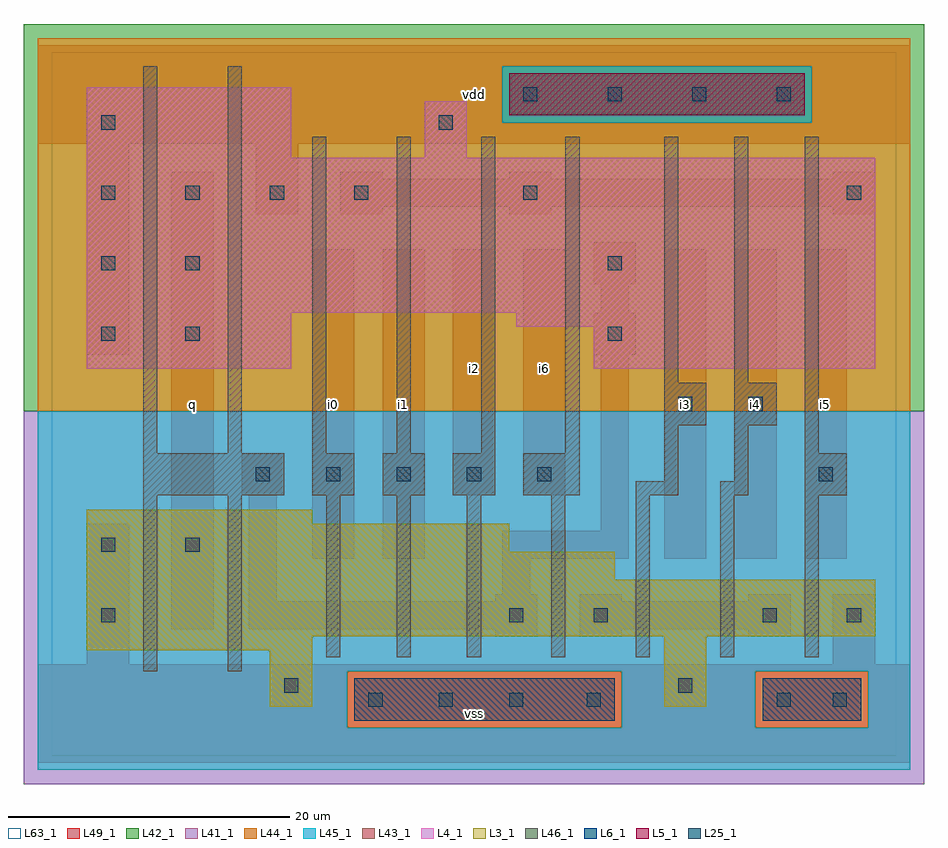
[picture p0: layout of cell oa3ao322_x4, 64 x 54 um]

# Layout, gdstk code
import gdstk
lib = gdstk.Library(unit=1e-6, precision=1e-09)
def R(c, l, rs):  # rectangles x0, y0, x1, y1
    for r in rs: c.add(gdstk.rectangle(r[:2], r[2:], *l))
def A(c, l, x, y, w, h, nx, ny, dx, dy):  # array of equal rectangles
    R(c, l, [(x+i*dx, y+j*dy, x+i*dx+w, y+j*dy+h) for i in range(nx) for j in range(ny)])
L3_1 = (3, 1)
L4_1 = (4, 1)
L5_1 = (5, 1)
L6_1 = (6, 1)
L25_1 = (25, 1)
L41_1 = (41, 1)
L42_1 = (42, 1)
L43_1 = (43, 1)
L44_1 = (44, 1)
L45_1 = (45, 1)
L46_1 = (46, 1)
L49_1 = (49, 1)
L63_1 = (63, 1)

oa3ao322_x4 = lib.new_cell('oa3ao322_x4')
R(oa3ao322_x4, L3_1, [(15.5,3.5,18.5,7.5), (43.5,3.5,46.5,8.5), (2.5,7.5,18.5,8.5), (2.5,8.5,58.5,12.5), (2.5,12.5,40,14.5), (2.5,14.5,32.5,16.5), (2.5,16.5,18.5,17.5)])
R(oa3ao322_x4, L4_1, [(2.5,27.5,17,31.5), (38.5,27.5,58.5,30.5), (33,30.5,58.5,31.5), (2.5,31.5,58.5,42.5), (2.5,42.5,17,47.5), (26.5,42.5,29.5,46.5)])
R(oa3ao322_x4, L5_1, [(32.5,45.5,53.5,48.5)])
R(oa3ao322_x4, L6_1, [(21.5,2.5,40,5.5), (50.5,2.5,57.5,5.5)])
A(oa3ao322_x4, L25_1, 22.5, 3.5, 1, 1, 3, 1, 5, 0)
A(oa3ao322_x4, L25_1, 14.5, 19.5, 1, 1, 5, 1, 5, 0)
A(oa3ao322_x4, L25_1, 3.5, 39.5, 1, 1, 4, 1, 6, 0)
A(oa3ao322_x4, L25_1, 33.5, 46.5, 1, 1, 4, 1, 6, 0)
R(oa3ao322_x4, L25_1, [(38,3.5,39,4.5), (51.5,3.5,52.5,4.5), (55.5,3.5,56.5,4.5), (16.5,4.5,17.5,5.5), (44.5,4.5,45.5,5.5), (3.5,9.5,4.5,10.5), (32.5,9.5,33.5,10.5), (38.5,9.5,39.5,10.5), (50.5,9.5,51.5,10.5), (56.5,9.5,57.5,10.5), (3.5,14.5,4.5,15.5), (9.5,14.5,10.5,15.5), (54.5,19.5,55.5,20.5), (44.5,24.5,45.5,25.5), (49.5,24.5,50.5,25.5), (3.5,29.5,4.5,30.5), (9.5,29.5,10.5,30.5), (39.5,29.5,40.5,30.5), (3.5,34.5,4.5,35.5), (9.5,34.5,10.5,35.5), (39.5,34.5,40.5,35.5), (33.5,39.5,34.5,40.5), (56.5,39.5,57.5,40.5), (3.5,44.5,4.5,45.5), (27.5,44.5,28.5,45.5)])
R(oa3ao322_x4, L41_1, [(-2,-2,62,24.5)])
R(oa3ao322_x4, L42_1, [(-2,24.5,62,52)])
R(oa3ao322_x4, L43_1, [(21.5,2.5,40,5.5), (50.5,2.5,57.5,5.5), (15.5,3.5,18.5,7.5), (43.5,3.5,46.5,8.5), (2.5,7.5,18.5,8.5), (2.5,8.5,58.5,12.5), (2.5,12.5,40,14.5), (2.5,14.5,32.5,16.5), (2.5,16.5,18.5,17.5), (2.5,27.5,17,31.5), (38.5,27.5,58.5,30.5), (33,30.5,58.5,31.5), (2.5,31.5,58.5,42.5), (2.5,42.5,17,47.5), (26.5,42.5,29.5,46.5), (32.5,45.5,53.5,48.5)])
R(oa3ao322_x4, L44_1, [(21,2,40.5,6), (50,2,58,6), (-1,24.5,61,45), (-1,45,32,49), (54,45,61,49), (-1,49,61,51)])
R(oa3ao322_x4, L45_1, [(-1,-1,61,2), (-1,2,21,6), (40.5,2,50,6), (58,2,61,6), (-1,6,61,24.5), (32,45,54,49)])
A(oa3ao322_x4, L46_1, 19.5, 7, 1, 11.5, 3, 1, 5, 0)
A(oa3ao322_x4, L46_1, 35.5, 7, 1, 11.5, 4, 1, 6, 0)
A(oa3ao322_x4, L46_1, 18.5, 18.5, 3, 3, 3, 1, 5, 0)
A(oa3ao322_x4, L46_1, 18.5, 21.5, 1, 22.5, 4, 1, 6, 0)
R(oa3ao322_x4, L46_1, [(6.5,6,7.5,18.5), (12.5,6,13.5,18.5), (6.5,18.5,16.5,21.5), (33.5,18.5,37.5,21.5), (41.5,18.5,44.5,19.5), (47.5,18.5,49.5,19.5), (53.5,18.5,56.5,21.5), (43.5,19.5,44.5,23.5), (48.5,19.5,49.5,23.5), (6.5,21.5,7.5,49), (12.5,21.5,13.5,49), (53.5,21.5,54.5,44), (43.5,23.5,46.5,26.5), (48.5,23.5,51.5,26.5), (43.5,26.5,44.5,44), (48.5,26.5,49.5,44)])
A(oa3ao322_x4, L49_1, 43.5, 14, 3, 22, 3, 1, 5, 0)
R(oa3ao322_x4, L49_1, [(-1,-0.5,61,6.5), (2.5,6.5,5.5,16.5), (55.5,6.5,58.5,11.5), (31.5,8.5,34.5,9), (37.5,8.5,40.5,9), (49.5,8.5,52.5,9), (8.5,9,11.5,41.5), (14,9,34.5,11), (37.5,9,52.5,11), (14,11,16,18.5), (31.5,11,34.5,11.5), (37.5,11,40.5,11.5), (49.5,11,52.5,11.5), (32,11.5,34,14), (18.5,14,21.5,36), (23.5,14,26.5,36), (32,14,41,16), (39,16,41,28.5), (13.5,18.5,16.5,21.5), (28.5,18.5,31.5,36), (33.5,18.5,36.5,36), (2.5,28.5,5.5,43.5), (38.5,28.5,41.5,31.5), (39,31.5,41,33.5), (38.5,33.5,41.5,36.5), (14.5,38.5,17.5,43.5), (20.5,38.5,23.5,39), (32.5,38.5,35.5,39), (55.5,38.5,58.5,39), (20.5,39,58.5,41), (20.5,41,23.5,41.5), (32.5,41,35.5,41.5), (55.5,41,58.5,41.5), (-1,43.5,61,50.5)])
R(oa3ao322_x4, L63_1, [(0,0,60,50)])
oa3ao322_x4.add(gdstk.Label('q', (10,25), layer=49, texttype=1))
oa3ao322_x4.add(gdstk.Label('q', (10,25), layer=49, texttype=1))
oa3ao322_x4.add(gdstk.Label('i0', (20,25), layer=49, texttype=1))
oa3ao322_x4.add(gdstk.Label('i0', (20,25), layer=49, texttype=1))
oa3ao322_x4.add(gdstk.Label('vss', (30,3), layer=49, texttype=1))
oa3ao322_x4.add(gdstk.Label('vss', (30,3), layer=49, texttype=1))
oa3ao322_x4.add(gdstk.Label('i1', (25,25), layer=49, texttype=1))
oa3ao322_x4.add(gdstk.Label('i1', (25,25), layer=49, texttype=1))
oa3ao322_x4.add(gdstk.Label('i6', (35,27.5), layer=49, texttype=1))
oa3ao322_x4.add(gdstk.Label('i2', (30,27.5), layer=49, texttype=1))
oa3ao322_x4.add(gdstk.Label('i6', (35,27.5), layer=49, texttype=1))
oa3ao322_x4.add(gdstk.Label('i2', (30,27.5), layer=49, texttype=1))
oa3ao322_x4.add(gdstk.Label('vdd', (30,47), layer=49, texttype=1))
oa3ao322_x4.add(gdstk.Label('vdd', (30,47), layer=49, texttype=1))
oa3ao322_x4.add(gdstk.Label('i3', (45,25), layer=49, texttype=1))
oa3ao322_x4.add(gdstk.Label('i3', (45,25), layer=49, texttype=1))
oa3ao322_x4.add(gdstk.Label('i4', (50,25), layer=49, texttype=1))
oa3ao322_x4.add(gdstk.Label('i4', (50,25), layer=49, texttype=1))
oa3ao322_x4.add(gdstk.Label('i5', (55,25), layer=49, texttype=1))
oa3ao322_x4.add(gdstk.Label('i5', (55,25), layer=49, texttype=1))

lib.write_gds('oa3ao322_x4.gds')
